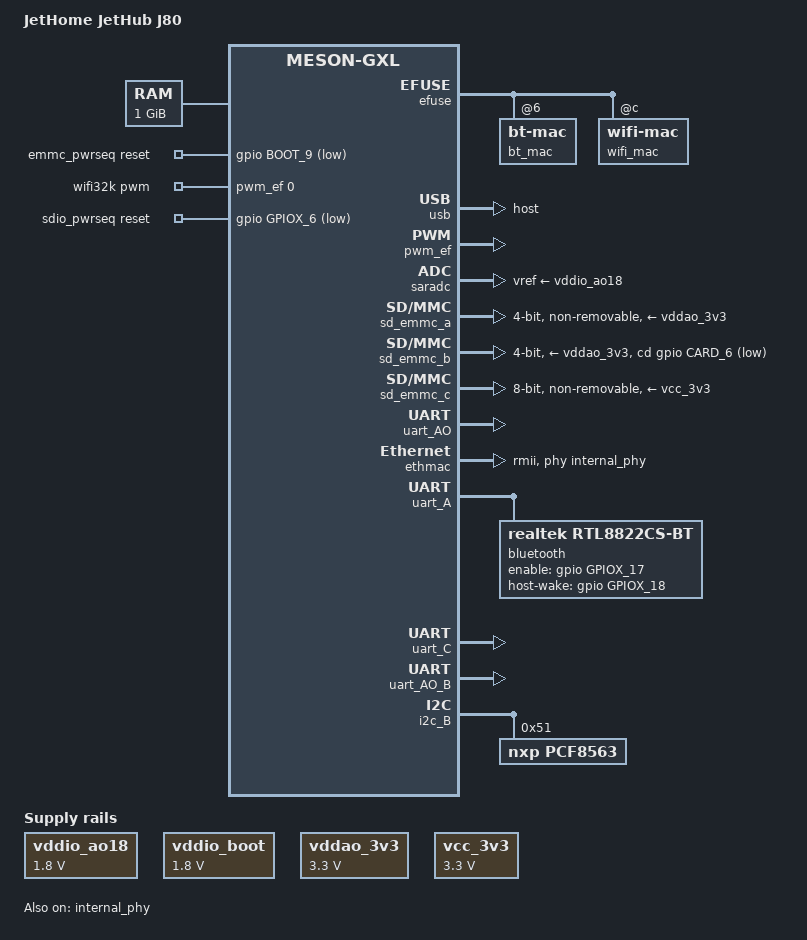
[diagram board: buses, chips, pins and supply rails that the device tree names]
// SPDX-License-Identifier: (GPL-2.0+ OR MIT)
/*
 * Copyright (c) 2021 Vyacheslav Bocharov <adeep@lexina.in>
 * Copyright (c) 2020 JetHome
 * Author: Aleksandr Kazantsev <ak@tvip.ru>
 * Author: Alexey Shevelkin <ash@tvip.ru>
 * Author: Vyacheslav Bocharov <adeep@lexina.in>
 */

/dts-v1/;

#include "meson-gxl.dtsi"

/ {
	compatible = "jethome,jethub-j80", "amlogic,s905w", "amlogic,meson-gxl";
	model = "JetHome JetHub J80";
	memory@0 {
		device_type = "memory";
		reg = <0x0 0x0 0x0 0x40000000>;
	};

	reserved-memory {
		linux,cma {
			size = <0x0 0x1000000>;
		};
	};

	aliases {
		serial0 = &uart_AO;   /* Console */
		serial1 = &uart_A;    /* Bluetooth */
		serial2 = &uart_AO_B; /* Wireless module 1 */
		serial3 = &uart_C;    /* Wireless module 2 */
		ethernet0 = &ethmac;
	};

	chosen {
		stdout-path = "serial0:115200n8";
	};

	vddio_ao18: regulator-vddio-ao18 {
		compatible = "regulator-fixed";
		regulator-name = "VDDIO_AO18";
		regulator-min-microvolt = <1800000>;
		regulator-max-microvolt = <1800000>;
	};

	vddio_boot: regulator-vddio-boot {
		compatible = "regulator-fixed";
		regulator-name = "VDDIO_BOOT";
		regulator-min-microvolt = <1800000>;
		regulator-max-microvolt = <1800000>;
	};

	vddao_3v3: regulator-vddao-3v3 {
		compatible = "regulator-fixed";
		regulator-name = "VDDAO_3V3";
		regulator-min-microvolt = <3300000>;
		regulator-max-microvolt = <3300000>;
	};

	vcc_3v3: regulator-vcc-3v3 {
		compatible = "regulator-fixed";
		regulator-name = "VCC_3V3";
		regulator-min-microvolt = <3300000>;
		regulator-max-microvolt = <3300000>;
	};

	emmc_pwrseq: emmc-pwrseq {
		compatible = "mmc-pwrseq-emmc";
		reset-gpios = <&gpio BOOT_9 GPIO_ACTIVE_LOW>;
	};

	wifi32k: wifi32k {
		compatible = "pwm-clock";
		#clock-cells = <0>;
		clock-frequency = <32768>;
		pwms = <&pwm_ef 0 30518 0>; /* PWM_E at 32.768KHz */
	};

	sdio_pwrseq: sdio-pwrseq {
		compatible = "mmc-pwrseq-simple";
		reset-gpios = <&gpio GPIOX_6 GPIO_ACTIVE_LOW>;
		clocks = <&wifi32k>;
		clock-names = "ext_clock";
	};
};

&efuse {
	bt_mac: bt-mac@6 {
		reg = <0x6 0x6>;
	};

	wifi_mac: wifi-mac@c {
		reg = <0xc 0x6>;
	};
};

&sn {
	reg = <0x32 0x20>;
};

&eth_mac {
	reg = <0x0 0x6>;
};

&bid {
	reg = <0x12 0x20>;
};

&usb {
	status = "okay";
	dr_mode = "host";
};

&pwm_ef {
	status = "okay";
	pinctrl-0 = <&pwm_e_pins>;
	pinctrl-names = "default";
	clocks = <&clkc CLKID_FCLK_DIV4>;
	clock-names = "clkin0";
};

&saradc {
	status = "okay";
	vref-supply = <&vddio_ao18>;
};

/* Wireless SDIO Module */
&sd_emmc_a {
	status = "okay";
	pinctrl-0 = <&sdio_pins>;
	pinctrl-1 = <&sdio_clk_gate_pins>;
	pinctrl-names = "default", "clk-gate";
	#address-cells = <1>;
	#size-cells = <0>;

	bus-width = <4>;
	cap-sd-highspeed;
	max-frequency = <50000000>;

	non-removable;
	disable-wp;

	/* WiFi firmware requires power to be kept while in suspend */
	keep-power-in-suspend;

	mmc-pwrseq = <&sdio_pwrseq>;

	vmmc-supply = <&vddao_3v3>;
	vqmmc-supply = <&vddio_boot>;
};

/* SD card */
&sd_emmc_b {
	status = "okay";
	pinctrl-0 = <&sdcard_pins>;
	pinctrl-1 = <&sdcard_clk_gate_pins>;
	pinctrl-names = "default", "clk-gate";

	bus-width = <4>;
	cap-sd-highspeed;
	max-frequency = <50000000>;
	disable-wp;

	cd-gpios = <&gpio CARD_6 GPIO_ACTIVE_LOW>;

	vmmc-supply = <&vddao_3v3>;
	vqmmc-supply = <&vddio_boot>;
};

/* eMMC */
&sd_emmc_c {
	status = "okay";
	pinctrl-0 = <&emmc_pins>, <&emmc_ds_pins>;
	pinctrl-1 = <&emmc_clk_gate_pins>;
	pinctrl-names = "default", "clk-gate";

	bus-width = <8>;
	cap-mmc-highspeed;
	max-frequency = <200000000>;
	non-removable;
	disable-wp;
	mmc-ddr-1_8v;
	mmc-hs200-1_8v;

	mmc-pwrseq = <&emmc_pwrseq>;
	vmmc-supply = <&vcc_3v3>;
	vqmmc-supply = <&vddio_boot>;
};

/* Console UART */
&uart_AO {
	status = "okay";
	pinctrl-0 = <&uart_ao_a_pins>;
	pinctrl-names = "default";
};

/* S905W only has access to its internal PHY */
&ethmac {
	status = "okay";
	phy-mode = "rmii";
	phy-handle = <&internal_phy>;
};

&internal_phy {
	status = "okay";
	pinctrl-0 = <&eth_link_led_pins>, <&eth_act_led_pins>;
	pinctrl-names = "default";
};

&uart_A {
	status = "okay";
	pinctrl-0 = <&uart_a_pins>, <&uart_a_cts_rts_pins>;
	pinctrl-names = "default";
	uart-has-rtscts;

	bluetooth {
		compatible = "realtek,rtl8822cs-bt";
		enable-gpios = <&gpio GPIOX_17 GPIO_ACTIVE_HIGH>;
		host-wake-gpios = <&gpio GPIOX_18 GPIO_ACTIVE_HIGH>;
       };
};

&uart_C {
	status = "okay";
	pinctrl-0 = <&uart_c_pins>;
	pinctrl-names = "default";
};

&uart_AO_B {
	status = "okay";
	pinctrl-0 = <&uart_ao_b_pins>, <&uart_ao_b_cts_rts_pins>;
	pinctrl-names = "default";
	uart-has-rtscts;
};

&i2c_B {
	status = "okay";
	pinctrl-names = "default";
	pinctrl-0 = <&i2c_b_pins>;

	pcf8563: rtc@51 {
		compatible = "nxp,pcf8563";
		reg = <0x51>;
		status = "okay";
	};
};
